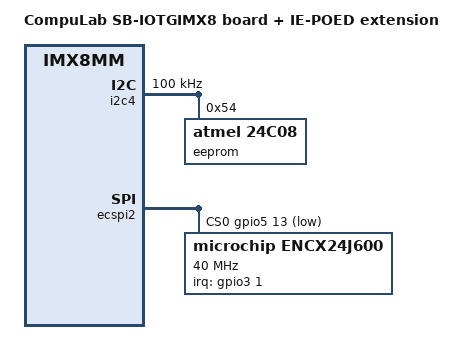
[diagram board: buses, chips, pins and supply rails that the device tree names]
/*
 * Copyright (C) 2020 CompuLab Ltd.
 *
 * This program is free software; you can redistribute it and/or
 * modify it under the terms of the GNU General Public License
 * as published by the Free Software Foundation; either version 2
 * of the License, or (at your option) any later version.
 *
 * This program is distributed in the hope that it will be useful,
 * but WITHOUT ANY WARRANTY; without even the implied warranty of
 * MERCHANTABILITY or FITNESS FOR A PARTICULAR PURPOSE. See the
 * GNU General Public License for more details.
 */

#include "sb-iotgimx8.dts"

/ {
	model = "CompuLab SB-IOTGIMX8 board + IE-POED extension";
	compatible = "sb-iotgimx8-poed", "sb-iotgimx8", "cpl,ucm-imx8m-mini", "fsl,imx8mm";

};

&i2c4 {
	clock-frequency = <100000>;
	pinctrl-names = "default";
	pinctrl-0 = <&pinctrl_i2c4>;
	status = "okay";

	eeprom@54 {
		compatible = "atmel,24c08";
		reg = <0x54>;
		pagesize = <16>;
	};
};

&ecspi2 {
	/delete-property/ dmas;
	/delete-property/ dma-names;
	#address-cells = <1>;
	#size-cells = <0>;
	fsl,spi-num-chipselects = <1>;
	pinctrl-names = "default";
	pinctrl-0 = <&pinctrl_ecspi2 &pinctrl_ecspi2_cs>;
	cs-gpios = <&gpio5 13 GPIO_ACTIVE_LOW>;
	status = "okay";

	encx24j600@0 {
		compatible = "microchip,encx24j600";
		spi-max-frequency = <40000000>;
		reg = <0>;
		interrupt-parent = <&gpio3>;
		interrupts = <1 IRQ_TYPE_EDGE_FALLING>;
	};
};

&iomuxc {
	sb-iotgimx8-poed {
		pinctrl_i2c4: i2c4grp {
			fsl,pins = <
				MX8MM_IOMUXC_I2C4_SCL_I2C4_SCL		0x400001c3
				MX8MM_IOMUXC_I2C4_SDA_I2C4_SDA		0x400001c3
			>;
		};

		pinctrl_ecspi2: ecspi2grp {
			fsl,pins = <
				MX8MM_IOMUXC_ECSPI2_SCLK_ECSPI2_SCLK	0x02
				MX8MM_IOMUXC_ECSPI2_MOSI_ECSPI2_MOSI	0x02
				MX8MM_IOMUXC_ECSPI2_MISO_ECSPI2_MISO	0x102
			>;
		};

		pinctrl_ecspi2_cs: ecspi2_csgrp {
			fsl,pins = <
				MX8MM_IOMUXC_ECSPI2_SS0_GPIO5_IO13	0x4000
				MX8MM_IOMUXC_NAND_CE0_B_GPIO3_IO1	0x04146
			>;
		};
	};
};
